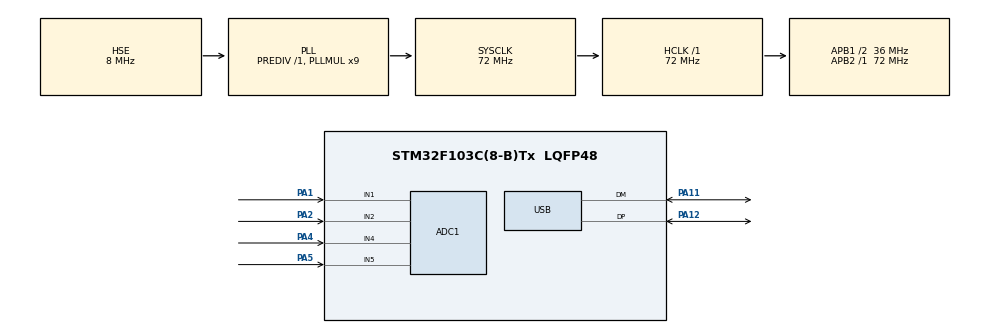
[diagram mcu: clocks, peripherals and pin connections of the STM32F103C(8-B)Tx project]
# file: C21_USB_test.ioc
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ADC1.Channel-0\#ChannelRegularConversion=ADC_CHANNEL_1
ADC1.Channel-1\#ChannelRegularConversion=ADC_CHANNEL_2
ADC1.Channel-2\#ChannelRegularConversion=ADC_CHANNEL_4
ADC1.Channel-3\#ChannelRegularConversion=ADC_CHANNEL_5
ADC1.ContinuousConvMode=ENABLE
ADC1.NbrOfConversion=4
ADC1.NbrOfConversionFlag=1
ADC1.Rank-0\#ChannelRegularConversion=1
ADC1.Rank-1\#ChannelRegularConversion=2
ADC1.Rank-2\#ChannelRegularConversion=3
ADC1.Rank-3\#ChannelRegularConversion=4
ADC1.SamplingTime-0\#ChannelRegularConversion=ADC_SAMPLETIME_239CYCLES_5
ADC1.SamplingTime-1\#ChannelRegularConversion=ADC_SAMPLETIME_239CYCLES_5
ADC1.SamplingTime-2\#ChannelRegularConversion=ADC_SAMPLETIME_239CYCLES_5
ADC1.SamplingTime-3\#ChannelRegularConversion=ADC_SAMPLETIME_239CYCLES_5
ADC1.master=1
Dma.ADC1.0.Direction=DMA_PERIPH_TO_MEMORY
Dma.ADC1.0.Instance=DMA1_Channel1
Dma.ADC1.0.MemDataAlignment=DMA_MDATAALIGN_HALFWORD
Dma.ADC1.0.MemInc=DMA_MINC_ENABLE
Dma.ADC1.0.Mode=DMA_CIRCULAR
Dma.ADC1.0.PeriphDataAlignment=DMA_PDATAALIGN_HALFWORD
Dma.ADC1.0.PeriphInc=DMA_PINC_DISABLE
Dma.ADC1.0.Priority=DMA_PRIORITY_LOW
Dma.Request0=ADC1
Mcu.Family=STM32F1
Mcu.Name=STM32F103C(8-B)Tx
Mcu.Package=LQFP48
NVIC.ADC1_2_IRQn=true\:0\:0\:false\:false\:true\:true\:true
NVIC.DMA1_Channel1_IRQn=true\:0\:0\:false\:false\:true\:false\:true
NVIC.PriorityGroup=NVIC_PRIORITYGROUP_4
NVIC.USB_LP_CAN1_RX0_IRQn=true\:0\:0\:false\:false\:true\:false\:true
PA1.Signal=ADCx_IN1
PA11.Mode=Device
PA11.Signal=USB_DM
PA12.Mode=Device
PA12.Signal=USB_DP
PA13.Mode=Serial_Wire
PA13.Signal=SYS_JTMS-SWDIO
PA14.Mode=Serial_Wire
PA14.Signal=SYS_JTCK-SWCLK
PA2.Signal=ADCx_IN2
PA4.Signal=ADCx_IN4
PA5.Signal=ADCx_IN5
PD0-OSC_IN.Mode=HSE-External-Oscillator
PD0-OSC_IN.Signal=RCC_OSC_IN
PD1-OSC_OUT.Mode=HSE-External-Oscillator
PD1-OSC_OUT.Signal=RCC_OSC_OUT
ProjectManager.HeapSize=0x200
ProjectManager.StackSize=0x400
ProjectManager.TargetToolchain=STM32CubeIDE
RCC.ADCPresc=RCC_ADCPCLK2_DIV8
RCC.AHBFreq_Value=72000000
RCC.APB1CLKDivider=RCC_HCLK_DIV2
RCC.APB1Freq_Value=36000000
RCC.APB1TimFreq_Value=72000000
RCC.APB2Freq_Value=72000000
RCC.APB2TimFreq_Value=72000000
RCC.HCLKFreq_Value=72000000
RCC.PLLMUL=RCC_PLL_MUL9
RCC.SYSCLKFreq_VALUE=72000000
RCC.SYSCLKSource=RCC_SYSCLKSOURCE_PLLCLK
RCC.USBFreq_Value=48000000
RCC.USBPrescaler=RCC_USBCLKSOURCE_PLL_DIV1_5
SH.ADCx_IN1.0=ADC1_IN1,IN1
SH.ADCx_IN2.0=ADC1_IN2,IN2
SH.ADCx_IN4.0=ADC1_IN4,IN4
SH.ADCx_IN5.0=ADC1_IN5,IN5
USB_DEVICE.CLASS_NAME_FS=HID
USB_DEVICE.VirtualMode=Hid
USB_DEVICE.VirtualModeFS=Hid_FS
VP_USB_DEVICE_VS_USB_DEVICE_HID_FS.Mode=HID_FS
board=custom

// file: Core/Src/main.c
/* USER CODE BEGIN Header */
/**
  ******************************************************************************
  * @file           : main.c
  * @brief          : Main program body
  ******************************************************************************
  * @attention
  *
  * <h2><center>&copy; Copyright (c) 2020 STMicroelectronics.
  * All rights reserved.</center></h2>
  *
  * This software component is licensed by ST under BSD 3-Clause license,
  * the "License"; You may not use this file except in compliance with the
  * License. You may obtain a copy of the License at:
  *                        opensource.org/licenses/BSD-3-Clause
  *
  ******************************************************************************
  */
/* USER CODE END Header */
#include "main.h"
#include "usb_device.h"

/* USER CODE BEGIN Includes */
#include "usbd_hid.h"
/* USER CODE END Includes */

/* USER CODE BEGIN PTD */
extern USBD_HandleTypeDef hUsbDeviceFS;
#define REPORT_SIZE 5
uint8_t click_report[REPORT_SIZE] = {0};
/* USER CODE END PTD */

ADC_HandleTypeDef hadc1;
DMA_HandleTypeDef hdma_adc1;

/* USER CODE BEGIN PV */
uint16_t a[6];
uint8_t calib1,calib2;
/* USER CODE END PV */

void SystemClock_Config(void);
static void MX_GPIO_Init(void);
static void MX_DMA_Init(void);
static void MX_ADC1_Init(void);

/* USER CODE BEGIN 0 */
uint16_t a[6];
float temp[6];
uint8_t buf[12];
uint16_t value,value1, value2;
int count = 0;
/* USER CODE END 0 */

int main(void)
{

  /* MCU Configuration--------------------------------------------------------*/

  /* Reset of all peripherals, Initializes the Flash interface and the Systick. */
  HAL_Init();

  /* Configure the system clock */
  SystemClock_Config();

  /* Initialize all configured peripherals */
  MX_GPIO_Init();
  MX_DMA_Init();
  MX_USB_DEVICE_Init();
  MX_ADC1_Init();
  /* USER CODE BEGIN 2 */
//  HAL_ADC_Start_IT(&hadc1);

  HAL_ADC_Start_DMA(&hadc1,a,4);
   float temp1,temp2;
   for(int i = 0 ; i < 100; i++){
       temp1 += floor(a[1]/4096.0*255);
       temp2 += floor(a[2]/4096.0*255);
       HAL_Delay(2);
   }
   temp1/=100;
   temp2/=100;

   calib1 = (uint8_t) temp1;
   calib2 = (uint8_t) temp2;

  /* USER CODE END 2 */

  /* Infinite loop */
  while (1)
  {

    /* USER CODE BEGIN 3 */

	  HAL_Delay (100); // 200ms delay
		click_report[0] = 0; //click

		if((floor(a[1]/4096.0*255) -  calib1) > 2){
			 click_report[1] = (uint8_t)( 255 - ((a[1]/4096.0*255) - calib1)/2);

		}
		else{
			if((floor(a[1]/4096.0*255) -  calib1) < -2){
			      click_report[1] =(uint8_t)( 255 -  ((a[1]/4096.0*255) - calib1)/2);			//x
			}
			else{
				click_report[1] = 0;
			}
		}
		if((floor(a[2]/4096.0*255) - calib2) > 2){
			  click_report[2] = (uint8_t)( 255 - ((a[2]/4096.0*255) - calib2)/2);

				}
				else{
					if((floor(a[2]/4096.0*255) -  calib2) < -2){
						 click_report[2] = (uint8_t)( 255 -  ((a[2]/4096.0*255) - calib2)/2);			//x
					}
								else{
									click_report[2] = 0;
								}
				}
		click_report[3] = 0;			//wheel
		click_report[4] = 0;			//motion wakeup

//		HAL_Delay();

		USBD_HID_SendReport(&hUsbDeviceFS,click_report,5);
//	  temp[0] = 0;
//	  temp[1] = 0;
//	  temp[2] = 0;
//	  temp[3] = 0;
//	  temp[4] = 0;
//	  temp[5] = 0;
//      count = 0;

  }
  /* USER CODE END 3 */
}

void SystemClock_Config(void)
{
  RCC_OscInitTypeDef RCC_OscInitStruct = {0};
  RCC_ClkInitTypeDef RCC_ClkInitStruct = {0};
  RCC_PeriphCLKInitTypeDef PeriphClkInit = {0};

  /** Initializes the RCC Oscillators according to the specified parameters
  * in the RCC_OscInitTypeDef structure.
  */
  RCC_OscInitStruct.OscillatorType = RCC_OSCILLATORTYPE_HSE;
  RCC_OscInitStruct.HSEState = RCC_HSE_ON;
  RCC_OscInitStruct.HSEPredivValue = RCC_HSE_PREDIV_DIV1;
  RCC_OscInitStruct.HSIState = RCC_HSI_ON;
  RCC_OscInitStruct.PLL.PLLState = RCC_PLL_ON;
  RCC_OscInitStruct.PLL.PLLSource = RCC_PLLSOURCE_HSE;
  RCC_OscInitStruct.PLL.PLLMUL = RCC_PLL_MUL9;
  if (HAL_RCC_OscConfig(&RCC_OscInitStruct) != HAL_OK)
  {
    Error_Handler();
  }
  /** Initializes the CPU, AHB and APB buses clocks
  */
  RCC_ClkInitStruct.ClockType = RCC_CLOCKTYPE_HCLK|RCC_CLOCKTYPE_SYSCLK
                              |RCC_CLOCKTYPE_PCLK1|RCC_CLOCKTYPE_PCLK2;
  RCC_ClkInitStruct.SYSCLKSource = RCC_SYSCLKSOURCE_PLLCLK;
  RCC_ClkInitStruct.AHBCLKDivider = RCC_SYSCLK_DIV1;
  RCC_ClkInitStruct.APB1CLKDivider = RCC_HCLK_DIV2;
  RCC_ClkInitStruct.APB2CLKDivider = RCC_HCLK_DIV1;

  if (HAL_RCC_ClockConfig(&RCC_ClkInitStruct, FLASH_LATENCY_2) != HAL_OK)
  {
    Error_Handler();
  }
  PeriphClkInit.PeriphClockSelection = RCC_PERIPHCLK_ADC|RCC_PERIPHCLK_USB;
  PeriphClkInit.AdcClockSelection = RCC_ADCPCLK2_DIV8;
  PeriphClkInit.UsbClockSelection = RCC_USBCLKSOURCE_PLL_DIV1_5;
  if (HAL_RCCEx_PeriphCLKConfig(&PeriphClkInit) != HAL_OK)
  {
    Error_Handler();
  }
}

static void MX_ADC1_Init(void)
{

  ADC_ChannelConfTypeDef sConfig = {0};

  /** Common config
  */
  hadc1.Instance = ADC1;
  hadc1.Init.ScanConvMode = ADC_SCAN_ENABLE;
  hadc1.Init.ContinuousConvMode = ENABLE;
  hadc1.Init.DiscontinuousConvMode = DISABLE;
  hadc1.Init.ExternalTrigConv = ADC_SOFTWARE_START;
  hadc1.Init.DataAlign = ADC_DATAALIGN_RIGHT;
  hadc1.Init.NbrOfConversion = 4;
  if (HAL_ADC_Init(&hadc1) != HAL_OK)
  {
    Error_Handler();
  }
  /** Configure Regular Channel
  */
  sConfig.Channel = ADC_CHANNEL_1;
  sConfig.Rank = ADC_REGULAR_RANK_1;
  sConfig.SamplingTime = ADC_SAMPLETIME_239CYCLES_5;
  if (HAL_ADC_ConfigChannel(&hadc1, &sConfig) != HAL_OK)
  {
    Error_Handler();
  }
  /** Configure Regular Channel
  */
  sConfig.Channel = ADC_CHANNEL_2;
  sConfig.Rank = ADC_REGULAR_RANK_2;
  if (HAL_ADC_ConfigChannel(&hadc1, &sConfig) != HAL_OK)
  {
    Error_Handler();
  }
  /** Configure Regular Channel
  */
  sConfig.Channel = ADC_CHANNEL_4;
  sConfig.Rank = ADC_REGULAR_RANK_3;
  if (HAL_ADC_ConfigChannel(&hadc1, &sConfig) != HAL_OK)
  {
    Error_Handler();
  }
  /** Configure Regular Channel
  */
  sConfig.Channel = ADC_CHANNEL_5;
  sConfig.Rank = ADC_REGULAR_RANK_4;
  if (HAL_ADC_ConfigChannel(&hadc1, &sConfig) != HAL_OK)
  {
    Error_Handler();
  }

}

static void MX_DMA_Init(void)
{

  /* DMA controller clock enable */
  __HAL_RCC_DMA1_CLK_ENABLE();

  /* DMA interrupt init */
  /* DMA1_Channel1_IRQn interrupt configuration */
  HAL_NVIC_SetPriority(DMA1_Channel1_IRQn, 0, 0);
  HAL_NVIC_EnableIRQ(DMA1_Channel1_IRQn);

}

static void MX_GPIO_Init(void)
{

  /* GPIO Ports Clock Enable */
  __HAL_RCC_GPIOD_CLK_ENABLE();
  __HAL_RCC_GPIOA_CLK_ENABLE();

}

/* USER CODE BEGIN 4 */
void HAL_ADC_ConvCpltCallback(ADC_HandleTypeDef* hadc)
{
  /* Prevent unused argument(s) compilation warning */
	if(hadc->Instance == hadc1.Instance){
		a[0] = HAL_ADC_GetValue(&hadc1);
	}
}

/* USER CODE END 4 */

void Error_Handler(void)
{
}

/************************ (C) COPYRIGHT STMicroelectronics *****END OF FILE****/
